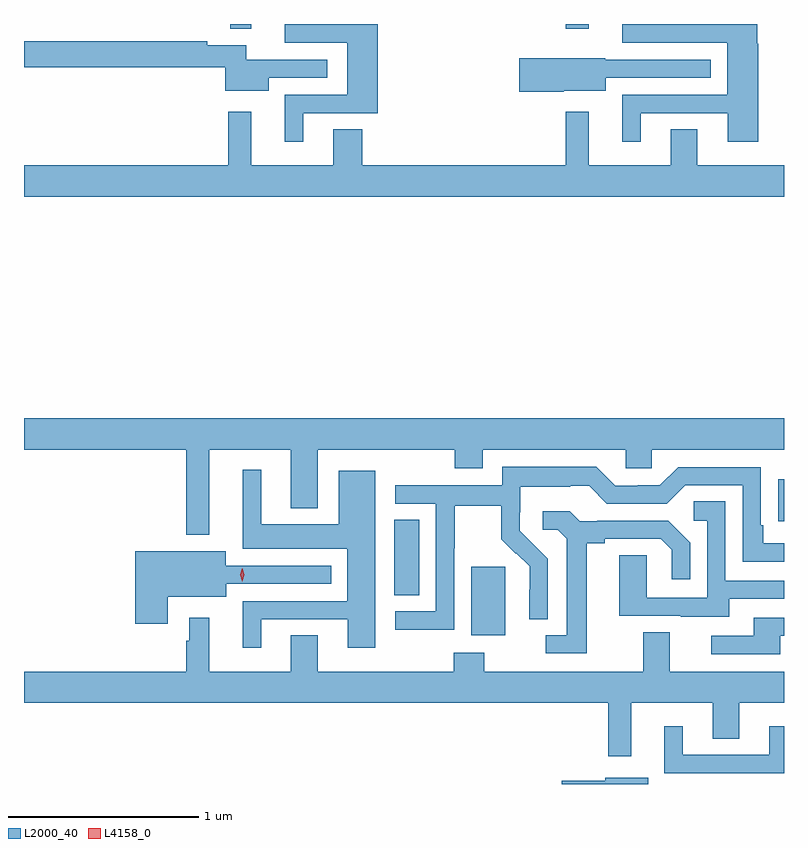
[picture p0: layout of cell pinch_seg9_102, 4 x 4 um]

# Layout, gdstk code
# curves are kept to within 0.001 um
import gdstk
lib = gdstk.Library(unit=1e-6, precision=1e-09)
def R(c, l, rs):  # rectangles x0, y0, x1, y1
    for r in rs: c.add(gdstk.rectangle(r[:2], r[2:], *l))
def P(c, l, *ps):  # polygons
    for p in ps: c.add(gdstk.Polygon(p, *l))
L2000_40 = (2000, 40)
L4158_0 = (4158, 0)

pinch_seg9_102 = lib.new_cell('pinch_seg9_102')
R(pinch_seg9_102, L2000_40, [(1079.297,1187.45,1079.476,1187.811), (1078.892,1187.662,1079.023,1188.059), (1080.913,1188.052,1080.944,1188.271), (1078.03,1190.643,1078.141,1190.668), (1079.796,1190.643,1079.917,1190.668)])
P(pinch_seg9_102, L2000_40, [(1080.19,1190.199),(1080.647,1190.199),(1080.647,1190.049),(1080.808,1190.049),(1080.808,1190.565),(1080.803,1190.565),(1080.803,1190.668),(1080.092,1190.668),(1080.092,1190.57),(1080.644,1190.57),(1080.644,1190.295),(1080.092,1190.295),(1080.092,1190.049),(1080.19,1190.049)],
  [(1078.414,1190.199),(1078.805,1190.199),(1078.805,1190.668),(1078.316,1190.668),(1078.316,1190.57),(1078.646,1190.57),(1078.646,1190.295),(1078.316,1190.295),(1078.316,1190.049),(1078.414,1190.049)],
  [(1078.231,1190.385),(1078.54,1190.385),(1078.54,1190.481),(1078.114,1190.481),(1078.114,1190.556),(1077.908,1190.556),(1077.908,1190.576),(1076.944,1190.576),(1076.944,1190.44),(1078.004,1190.44),(1078.004,1190.318),(1078.231,1190.318)],
  [(1079.784,1190.318),(1080.007,1190.318),(1080.007,1190.385),(1080.559,1190.385),(1080.559,1190.481),(1080.003,1190.481),(1080.003,1190.489),(1079.55,1190.489),(1079.55,1190.311),(1079.784,1190.311)],
  [(1080.944,1189.924),(1080.487,1189.924),(1080.487,1190.114),(1080.347,1190.114),(1080.347,1189.924),(1079.917,1189.924),(1079.917,1190.206),(1079.796,1190.206),(1079.796,1189.924),(1078.724,1189.924),(1078.724,1190.114),(1078.571,1190.114),(1078.571,1189.924),(1078.141,1189.924),(1078.141,1190.206),(1078.02,1190.206),(1078.02,1189.924),(1076.944,1189.924),(1076.944,1189.76),(1080.944,1189.76)],
  [(1077.919,1188.428),(1078.349,1188.428),(1078.349,1188.119),(1078.489,1188.119),(1078.489,1188.428),(1079.212,1188.428),(1079.212,1188.329),(1079.359,1188.329),(1079.359,1188.428),(1080.111,1188.428),(1080.111,1188.33),(1080.249,1188.33),(1080.249,1188.428),(1080.944,1188.428),(1080.944,1188.592),(1076.944,1188.592),(1076.944,1188.428),(1077.798,1188.428),(1077.798,1187.979),(1077.919,1187.979)],
  [(1079.208,1187.908),(1079.211,1187.908),(1079.211,1188.132),(1079.455,1188.132),(1079.455,1187.957),(1079.532,1187.88),(1079.535,1187.883),(1079.606,1187.813),(1079.606,1187.69),(1079.604,1187.69),(1079.604,1187.536),(1079.7,1187.536),(1079.7,1187.854),(1079.554,1188.002),(1079.554,1188.099),(1079.556,1188.099),(1079.556,1188.233),(1079.819,1188.233),(1079.819,1188.237),(1079.919,1188.237),(1080.012,1188.144),(1080.327,1188.144),(1080.423,1188.24),(1080.726,1188.24),(1080.726,1187.838),(1080.944,1187.838),(1080.944,1187.934),(1080.835,1187.934),(1080.835,1188.031),(1080.822,1188.031),(1080.822,1188.336),(1080.387,1188.336),(1080.291,1188.24),(1080.173,1188.24),(1080.173,1188.237),(1080.057,1188.237),(1079.957,1188.337),(1079.46,1188.337),(1079.46,1188.24),(1078.899,1188.24),(1078.899,1188.144),(1079.112,1188.144),(1079.112,1187.577),(1078.899,1187.577),(1078.899,1187.479),(1079.208,1187.479)],
  [(1078.192,1187.535),(1078.649,1187.535),(1078.649,1187.385),(1078.792,1187.385),(1078.792,1188.316),(1078.601,1188.316),(1078.601,1188.034),(1078.192,1188.034),(1078.192,1188.322),(1078.094,1188.322),(1078.094,1187.906),(1078.646,1187.906),(1078.646,1187.631),(1078.094,1187.631),(1078.094,1187.385),(1078.192,1187.385)],
  [(1080.655,1187.643),(1080.944,1187.643),(1080.944,1187.739),(1080.636,1187.739),(1080.636,1188.155),(1080.468,1188.155),(1080.468,1188.054),(1080.54,1188.054),(1080.54,1187.649),(1080.222,1187.649),(1080.222,1187.873),(1080.077,1187.873),(1080.077,1187.553),(1080.401,1187.553),(1080.401,1187.549),(1080.655,1187.549)],
  [(1079.905,1187.936),(1080.001,1187.936),(1080.001,1187.958),(1080.296,1187.958),(1080.353,1187.901),(1080.353,1187.745),(1080.45,1187.745),(1080.45,1187.938),(1080.334,1188.054),(1079.962,1188.054),(1079.962,1188.051),(1079.868,1188.051),(1079.816,1188.103),(1079.673,1188.103),(1079.673,1188.006),(1079.754,1188.006),(1079.801,1187.959),(1079.801,1187.451),(1079.691,1187.451),(1079.691,1187.355),(1079.905,1187.355)],
  [(1077.7,1187.654),(1078.009,1187.654),(1078.009,1187.721),(1078.561,1187.721),(1078.561,1187.817),(1078.006,1187.817),(1078.006,1187.893),(1077.53,1187.893),(1077.53,1187.511),(1077.7,1187.511)],
  [(1080.925,1187.448),(1080.944,1187.448),(1080.944,1187.544),(1080.785,1187.544),(1080.785,1187.448),(1080.561,1187.448),(1080.561,1187.352),(1080.925,1187.352)],
  [(1080.139,1187.096),(1080.569,1187.096),(1080.569,1186.906),(1080.709,1186.906),(1080.709,1187.096),(1080.944,1187.096),(1080.944,1187.26),(1080.343,1187.26),(1080.343,1187.468),(1080.203,1187.468),(1080.203,1187.26),(1079.367,1187.26),(1079.367,1187.359),(1079.207,1187.359),(1079.207,1187.26),(1078.489,1187.26),(1078.489,1187.45),(1078.349,1187.45),(1078.349,1187.26),(1077.919,1187.26),(1077.919,1187.542),(1077.815,1187.542),(1077.815,1187.423),(1077.798,1187.423),(1077.798,1187.26),(1076.944,1187.26),(1076.944,1187.096),(1080.018,1187.096),(1080.018,1186.815),(1080.139,1186.815)],
  [(1080.944,1186.972),(1080.866,1186.972),(1080.866,1186.821),(1080.412,1186.821),(1080.412,1186.972),(1080.314,1186.972),(1080.314,1186.725),(1080.944,1186.725)],
  [(1080.229,1186.702),(1080.002,1186.702),(1080.002,1186.684),(1079.773,1186.684),(1079.773,1186.668),(1080.229,1186.668)])
P(pinch_seg9_102, L4158_0, [(1078.093,1187.733),(1078.092,1187.734),(1078.083,1187.769),(1078.092,1187.804),(1078.093,1187.804),(1078.093,1187.804),(1078.103,1187.769),(1078.093,1187.734)])

lib.write_gds('pinch_seg9_102.gds')
